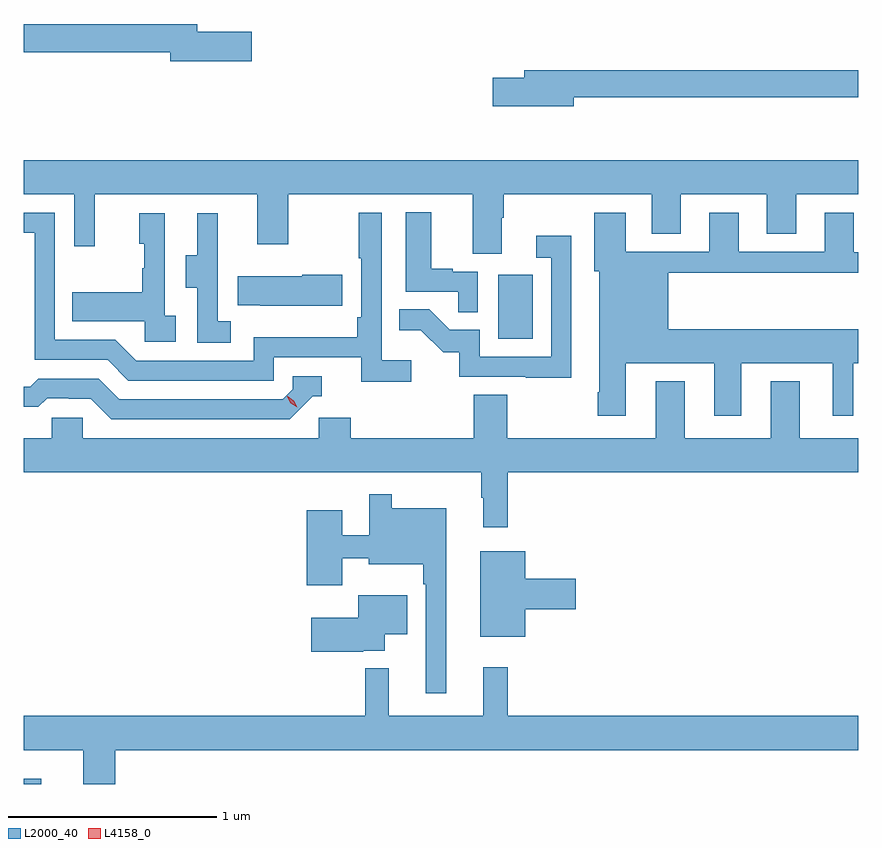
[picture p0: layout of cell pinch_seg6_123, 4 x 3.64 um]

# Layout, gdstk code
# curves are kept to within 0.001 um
import gdstk
lib = gdstk.Library(unit=1e-6, precision=1e-09)
def R(c, l, rs):  # rectangles x0, y0, x1, y1
    for r in rs: c.add(gdstk.rectangle(r[:2], r[2:], *l))
def P(c, l, *ps):  # polygons
    for p in ps: c.add(gdstk.Polygon(p, *l))
L2000_40 = (2000, 40)
L4158_0 = (4158, 0)

pinch_seg6_123 = lib.new_cell('pinch_seg6_123')
R(pinch_seg6_123, L2000_40, [(960.289,931.19,960.373,931.216), (962.564,933.324,962.728,933.631)])
P(pinch_seg6_123, L2000_40, [(961.381,934.796),(961.12,934.796),(961.12,934.832),(960.289,934.832),(960.289,934.696),(960.992,934.696),(960.992,934.654),(961.381,934.654)],
  [(962.926,934.482),(964.289,934.482),(964.289,934.61),(962.687,934.61),(962.687,934.574),(962.538,934.574),(962.538,934.439),(962.926,934.439)],
  [(962.581,933.904),(962.589,933.904),(962.589,934.016),(963.299,934.016),(963.299,933.826),(963.439,933.826),(963.439,934.016),(963.851,934.016),(963.851,933.826),(963.991,933.826),(963.991,934.016),(964.289,934.016),(964.289,934.18),(960.289,934.18),(960.289,934.016),(960.531,934.016),(960.531,933.768),(960.629,933.768),(960.629,934.016),(961.409,934.016),(961.409,933.777),(961.557,933.777),(961.557,934.016),(962.441,934.016),(962.441,933.73),(962.581,933.73)],
  [(962.466,933.645),(962.345,933.645),(962.345,933.658),(962.242,933.658),(962.242,933.931),(962.12,933.931),(962.12,933.549),(962.371,933.549),(962.371,933.451),(962.466,933.451)],
  [(962.146,933.22),(962.004,933.22),(962.004,933.928),(961.896,933.928),(961.896,933.709),(961.908,933.709),(961.908,933.427),(961.888,933.427),(961.888,933.331),(961.392,933.331),(961.392,933.219),(960.828,933.219),(960.729,933.318),(960.438,933.318),(960.438,933.927),(960.289,933.927),(960.289,933.831),(960.342,933.831),(960.342,933.222),(960.692,933.222),(960.791,933.123),(961.488,933.123),(961.488,933.234),(961.907,933.234),(961.907,933.118),(962.146,933.118)],
  [(963.175,933.206),(963.599,933.206),(963.599,932.955),(963.727,932.955),(963.727,933.206),(964.166,933.206),(964.166,932.955),(964.264,932.955),(964.264,933.206),(964.289,933.206),(964.289,933.37),(963.379,933.37),(963.379,933.64),(964.289,933.64),(964.289,933.738),(964.267,933.738),(964.267,933.928),(964.127,933.928),(964.127,933.741),(963.715,933.741),(963.715,933.928),(963.575,933.928),(963.575,933.741),(963.175,933.741),(963.175,933.928),(963.023,933.928),(963.023,933.648),(963.047,933.648),(963.047,933.067),(963.04,933.067),(963.04,932.955),(963.175,932.955)],
  [(961.018,933.434),(960.966,933.434),(960.966,933.925),(960.842,933.925),(960.842,933.78),(960.868,933.78),(960.868,933.662),(960.858,933.662),(960.858,933.547),(960.523,933.547),(960.523,933.407),(960.87,933.407),(960.87,933.309),(961.018,933.309)],
  [(961.282,933.407),(961.218,933.407),(961.218,933.711),(961.22,933.711),(961.22,933.925),(961.121,933.925),(961.121,933.723),(961.067,933.723),(961.067,933.568),(961.122,933.568),(961.122,933.304),(961.282,933.304)],
  [(962.914,933.548),(962.913,933.817),(962.745,933.817),(962.745,933.711),(962.817,933.711),(962.817,933.237),(962.475,933.237),(962.475,933.366),(962.33,933.366),(962.232,933.464),(962.089,933.464),(962.089,933.365),(962.193,933.365),(962.3,933.258),(962.377,933.258),(962.377,933.141),(962.695,933.141),(962.695,933.136),(962.914,933.136)],
  [(961.816,933.63),(961.625,933.63),(961.625,933.622),(961.315,933.622),(961.315,933.485),(961.423,933.485),(961.423,933.482),(961.816,933.482)],
  [(961.674,933.048),(961.717,933.048),(961.717,933.144),(961.578,933.144),(961.578,933.081),(961.53,933.033),(960.747,933.033),(960.648,933.132),(960.359,933.132),(960.32,933.093),(960.289,933.093),(960.289,932.997),(960.359,932.997),(960.401,933.039),(960.504,933.039),(960.504,933.036),(960.611,933.036),(960.71,932.937),(961.563,932.937)],
  [(962.609,932.684),(964.289,932.684),(964.289,932.848),(964.009,932.848),(964.009,933.121),(963.869,933.121),(963.869,932.848),(963.457,932.848),(963.457,933.121),(963.317,933.121),(963.317,932.848),(962.607,932.848),(962.607,933.056),(962.447,933.056),(962.447,932.848),(961.856,932.848),(961.856,932.946),(961.704,932.946),(961.704,932.848),(960.573,932.848),(960.573,932.946),(960.423,932.946),(960.423,932.848),(960.289,932.848),(960.289,932.684),(962.481,932.684),(962.481,932.561),(962.492,932.561),(962.492,932.421),(962.609,932.421)],
  [(962.314,932.512),(962.053,932.512),(962.053,932.578),(961.944,932.578),(961.944,932.383),(961.816,932.383),(961.816,932.503),(961.646,932.503),(961.646,932.142),(961.816,932.142),(961.816,932.273),(961.943,932.273),(961.943,932.243),(962.205,932.243),(962.205,932.147),(962.217,932.147),(962.217,931.626),(962.314,931.626)],
  [(962.692,932.027),(962.935,932.027),(962.935,932.174),(962.692,932.174),(962.692,932.305),(962.477,932.305),(962.477,931.895),(962.692,931.895)],
  [(961.916,931.829),(962.02,931.829),(962.02,931.907),(962.128,931.907),(962.128,932.095),(961.892,932.095),(961.892,931.987),(961.668,931.987),(961.668,931.824),(961.916,931.824)],
  [(960.728,931.352),(964.289,931.352),(964.289,931.516),(962.609,931.516),(962.609,931.75),(962.492,931.75),(962.492,931.516),(962.039,931.516),(962.039,931.744),(961.926,931.744),(961.926,931.516),(960.289,931.516),(960.289,931.352),(960.575,931.352),(960.575,931.19),(960.728,931.19)])
P(pinch_seg6_123, L4158_0, [(961.601,932.995),(961.57,933.014),(961.553,933.046),(961.553,933.047),(961.554,933.047),(961.584,933.027),(961.601,932.995),(961.601,932.995)])

lib.write_gds('pinch_seg6_123.gds')
